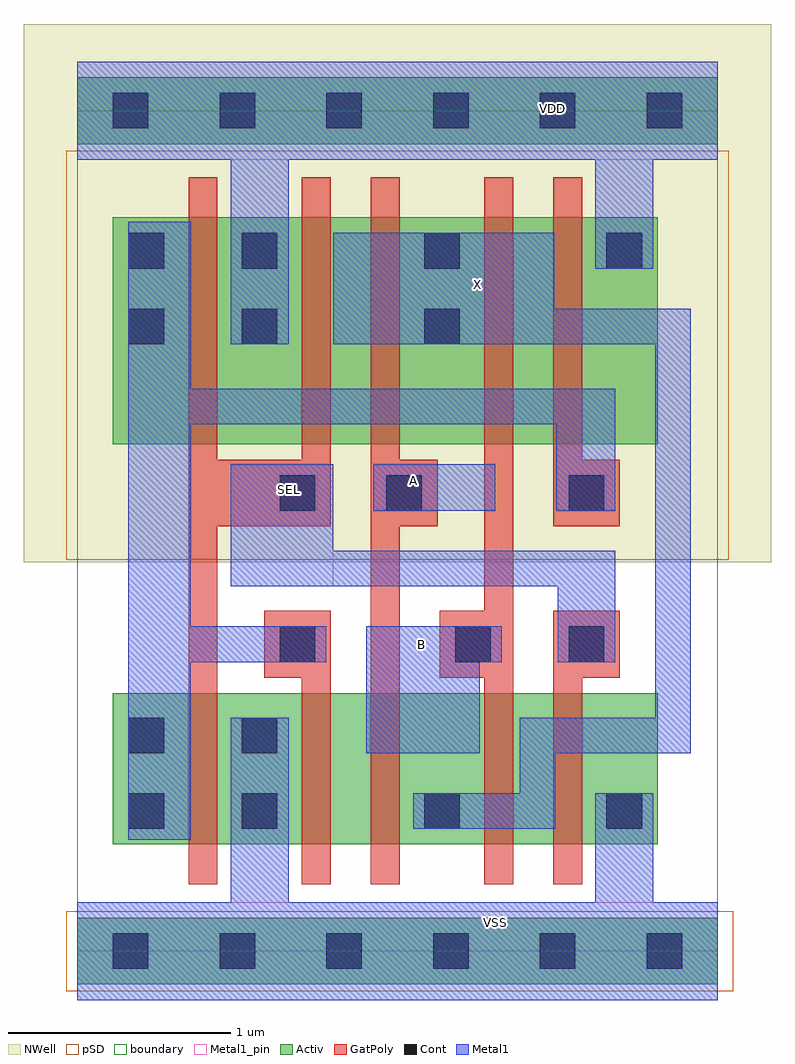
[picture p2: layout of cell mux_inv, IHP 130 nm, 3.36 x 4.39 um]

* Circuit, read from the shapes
.subckt mux_inv A B SEL VDD VSS X
XM1 VSS SEL n1 VSS sg13_lv_nmos w=0.68u l=0.13u
XM2 n2 n1 VSS VSS sg13_lv_nmos w=0.68u l=0.13u
XM3 X A n2 VSS sg13_lv_nmos w=0.68u l=0.13u
XM4 n3 B X VSS sg13_lv_nmos w=0.68u l=0.13u
XM5 VSS SEL n3 VSS sg13_lv_nmos w=0.68u l=0.13u
XM6 VDD SEL n1 VDD sg13_lv_pmos w=1.02u l=0.13u
XM7 n4 SEL VDD VDD sg13_lv_pmos w=1.02u l=0.13u
XM8 X A n4 VDD sg13_lv_pmos w=1.02u l=0.13u
XM9 n5 B X VDD sg13_lv_pmos w=1.02u l=0.13u
XM10 VDD n1 n5 VDD sg13_lv_pmos w=1.02u l=0.13u
.ends

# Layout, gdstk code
import gdstk
lib = gdstk.Library(unit=1e-6, precision=1e-09)
def R(c, l, rs):  # rectangles x0, y0, x1, y1
    for r in rs: c.add(gdstk.rectangle(r[:2], r[2:], *l))
def A(c, l, x, y, w, h, nx, ny, dx, dy):  # array of equal rectangles
    R(c, l, [(x+i*dx, y+j*dy, x+i*dx+w, y+j*dy+h) for i in range(nx) for j in range(ny)])
def P(c, l, *ps):  # polygons
    for p in ps: c.add(gdstk.Polygon(p, *l))
Activ = (1, 0)
GatPoly = (5, 0)
Cont = (6, 0)
Metal1 = (8, 0)
Metal1_pin = (8, 2)
pSD = (14, 0)
NWell = (31, 0)
boundary = (189, 4)

mux_inv = lib.new_cell('mux_inv')
R(mux_inv, Activ, [(0,-0.15,2.88,0.15), (0.16,0.48,2.61,1.16), (0.16,2.28,2.61,3.3), (0,3.63,2.88,3.93)])
P(mux_inv, GatPoly, [(1.01,0.3),(1.01,1.23),(0.84,1.23),(0.84,1.53),(1.14,1.53),(1.14,0.3)],
  [(2.14,0.3),(2.14,1.53),(2.44,1.53),(2.44,1.23),(2.27,1.23),(2.27,0.3)],
  [(0.5,0.3),(0.5,3.48),(0.63,3.48),(0.63,2.21),(1.01,2.21),(1.01,3.48),(1.14,3.48),(1.14,1.91),(0.63,1.91),(0.63,0.3)],
  [(1.32,0.3),(1.32,3.48),(1.45,3.48),(1.45,2.21),(1.62,2.21),(1.62,1.91),(1.45,1.91),(1.45,0.3)],
  [(1.83,0.3),(1.83,1.23),(1.63,1.23),(1.63,1.53),(1.83,1.53),(1.83,3.48),(1.96,3.48),(1.96,0.3)],
  [(2.14,1.91),(2.14,3.48),(2.27,3.48),(2.27,2.21),(2.44,2.21),(2.44,1.91)])
A(mux_inv, Cont, 0.16, -0.08, 0.16, 0.16, 6, 2, 0.48, 3.78)
A(mux_inv, Cont, 0.74, 0.55, 0.16, 0.16, 3, 2, 0.82, 2.52)
R(mux_inv, Cont, [(0.23,0.55,0.39,0.71), (0.23,0.89,0.39,1.05), (0.74,0.89,0.9,1.05), (0.91,1.3,1.07,1.46), (1.7,1.3,1.86,1.46), (2.21,1.3,2.37,1.46), (0.91,1.98,1.07,2.14), (1.39,1.98,1.55,2.14), (2.21,1.98,2.37,2.14), (0.23,2.73,0.39,2.89), (0.74,2.73,0.9,2.89), (1.56,2.73,1.72,2.89), (0.23,3.07,0.39,3.23)])
R(mux_inv, Metal1, [(1.33,1.98,1.88,2.19)])
P(mux_inv, Metal1, [(0,-0.22),(0,0.22),(0.69,0.22),(0.69,1.05),(0.95,1.05),(0.95,0.22),(2.33,0.22),(2.33,0.71),(2.59,0.71),(2.59,0.22),(2.88,0.22),(2.88,-0.22)],
  [(1.3,0.89),(1.3,1.46),(1.91,1.46),(1.91,1.3),(1.81,1.3),(1.81,0.89)],
  [(2.16,1.3),(2.16,1.64),(0.69,1.64),(0.69,2.19),(1.15,2.19),(1.15,1.8),(2.42,1.8),(2.42,1.3)],
  [(1.51,0.55),(1.51,0.71),(1.99,0.71),(1.99,1.05),(2.6,1.05),(2.6,2.73),(1.15,2.73),(1.15,3.23),(2.145,3.23),(2.145,2.89),(2.76,2.89),(2.76,0.89),(2.15,0.89),(2.15,0.55)],
  [(0.23,0.5),(0.23,3.28),(0.51,3.28),(0.51,2.53),(2.42,2.53),(2.42,1.98),(2.155,1.98),(2.155,2.37),(0.51,2.37),(0.51,1.46),(1.12,1.46),(1.12,1.3),(0.51,1.3),(0.51,0.5)],
  [(0.69,2.73),(0.69,3.56),(0,3.56),(0,4),(2.88,4),(2.88,3.56),(2.59,3.56),(2.59,3.07),(2.33,3.07),(2.33,3.56),(0.95,3.56),(0.95,2.73)])
R(mux_inv, Metal1_pin, [(0,-0.22,2.88,0.22), (1.3,0.89,1.81,1.46), (0.69,1.64,1.15,2.19), (1.33,1.98,1.88,2.19), (1.15,2.73,2.145,3.23), (0,3.56,2.88,4)])
R(mux_inv, pSD, [(-0.05,-0.18,2.95,0.18), (-0.05,1.76,2.93,3.6)])
R(mux_inv, NWell, [(-0.24,1.75,3.12,4.17)])
R(mux_inv, boundary, [(0,0,2.88,3.78)])
mux_inv.add(gdstk.Label('VSS', (1.88,0.13), layer=8, texttype=25))
mux_inv.add(gdstk.Label('VDD', (2.135,3.79), layer=8, texttype=25))
mux_inv.add(gdstk.Label('X', (1.8,3), layer=8, texttype=25))
mux_inv.add(gdstk.Label('B', (1.55,1.38), layer=8, texttype=25))
mux_inv.add(gdstk.Label('A', (1.51,2.115), layer=8, texttype=25))
mux_inv.add(gdstk.Label('SEL', (0.955,2.075), layer=8, texttype=25))

lib.write_gds('mux_inv.gds')
